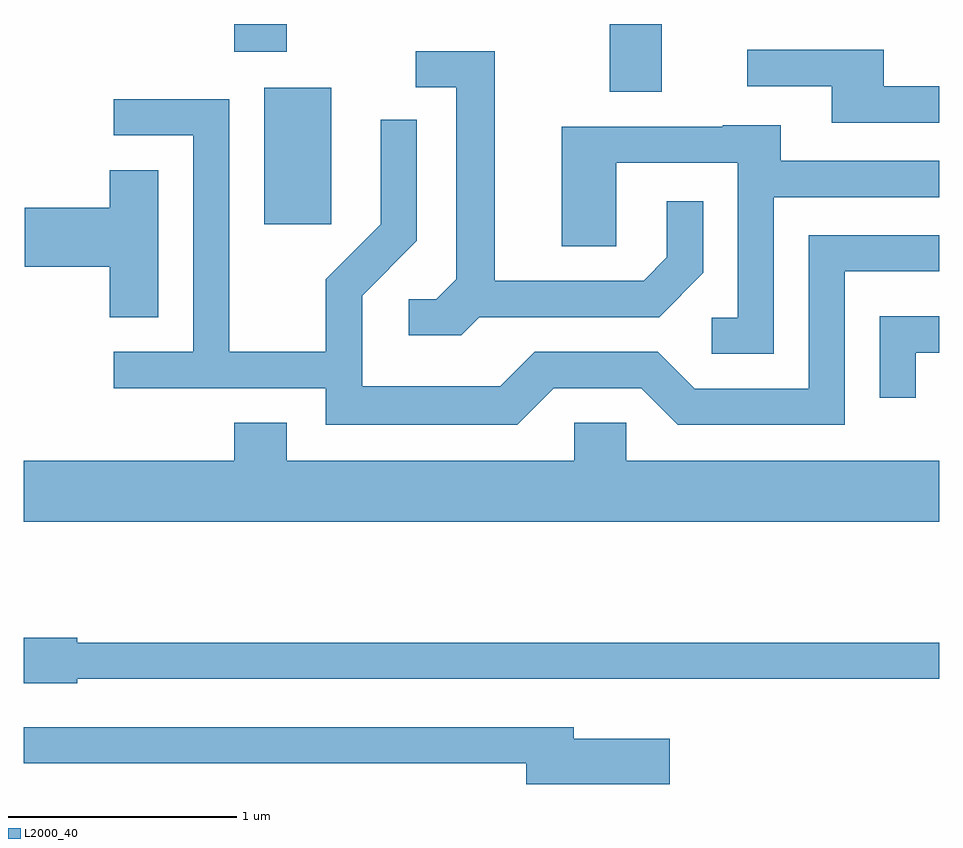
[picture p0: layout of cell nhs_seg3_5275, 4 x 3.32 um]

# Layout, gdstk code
import gdstk
lib = gdstk.Library(unit=1e-6, precision=1e-09)
def R(c, l, rs):  # rectangles x0, y0, x1, y1
    for r in rs: c.add(gdstk.rectangle(r[:2], r[2:], *l))
def P(c, l, *ps):  # polygons
    for p in ps: c.add(gdstk.Polygon(p, *l))
L2000_40 = (2000, 40)

nhs_seg3_5275 = lib.new_cell('nhs_seg3_5275')
R(nhs_seg3_5275, L2000_40, [(340.661,1205.016,340.954,1205.614), (342.171,1205.596,342.399,1205.892), (340.531,1205.771,340.759,1205.892)])
P(nhs_seg3_5275, L2000_40, [(343.611,1205.619),(343.369,1205.619),(343.369,1205.779),(342.773,1205.779),(342.773,1205.621),(343.141,1205.621),(343.141,1205.461),(343.611,1205.461)],
  [(341.602,1204.611),(342.387,1204.611),(342.579,1204.804),(342.579,1205.118),(342.421,1205.118),(342.421,1204.872),(342.319,1204.769),(341.669,1204.769),(341.669,1205.774),(341.323,1205.774),(341.323,1205.616),(341.501,1205.616),(341.501,1204.777),(341.414,1204.689),(341.293,1204.689),(341.293,1204.531),(341.522,1204.531)],
  [(341.927,1204.301),(342.309,1204.301),(342.469,1204.141),(343.199,1204.141),(343.199,1204.811),(343.611,1204.811),(343.611,1204.969),(343.041,1204.969),(343.041,1204.299),(342.542,1204.299),(342.382,1204.459),(341.844,1204.459),(341.694,1204.309),(341.089,1204.309),(341.089,1204.704),(341.329,1204.944),(341.329,1205.473),(341.171,1205.473),(341.171,1205.017),(340.931,1204.777),(340.931,1204.459),(340.509,1204.459),(340.509,1205.564),(340.003,1205.564),(340.003,1205.406),(340.351,1205.406),(340.351,1204.459),(340.003,1204.459),(340.003,1204.301),(340.931,1204.301),(340.931,1204.141),(341.767,1204.141)],
  [(342.889,1205.136),(343.611,1205.136),(343.611,1205.294),(342.919,1205.294),(342.919,1205.449),(342.665,1205.449),(342.665,1205.444),(341.961,1205.444),(341.961,1204.921),(342.199,1204.921),(342.199,1205.286),(342.731,1205.286),(342.731,1204.609),(342.618,1204.609),(342.618,1204.451),(342.889,1204.451)],
  [(340.199,1205.254),(339.986,1205.254),(339.986,1205.089),(339.616,1205.089),(339.616,1204.831),(339.986,1204.831),(339.986,1204.611),(340.199,1204.611)],
  [(343.509,1204.456),(343.611,1204.456),(343.611,1204.614),(343.351,1204.614),(343.351,1204.258),(343.509,1204.258)],
  [(343.611,1203.984),(342.244,1203.984),(342.244,1204.149),(342.016,1204.149),(342.016,1203.984),(340.759,1203.984),(340.759,1204.149),(340.531,1204.149),(340.531,1203.984),(339.611,1203.984),(339.611,1203.716),(343.611,1203.716)],
  [(339.844,1203.031),(343.611,1203.031),(343.611,1203.189),(339.844,1203.189),(339.844,1203.209),(339.611,1203.209),(339.611,1203.011),(339.844,1203.011)],
  [(342.434,1202.769),(342.014,1202.769),(342.014,1202.819),(339.611,1202.819),(339.611,1202.661),(341.806,1202.661),(341.806,1202.571),(342.434,1202.571)])

lib.write_gds('nhs_seg3_5275.gds')
